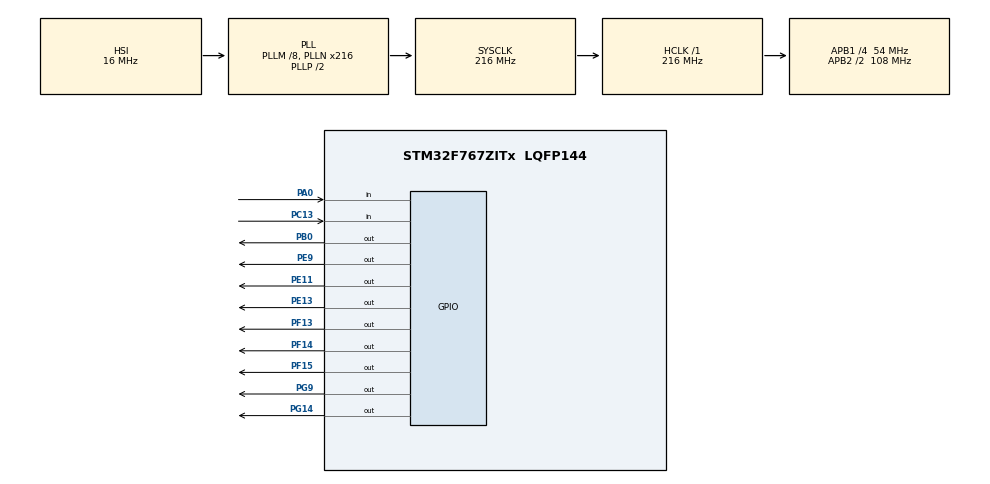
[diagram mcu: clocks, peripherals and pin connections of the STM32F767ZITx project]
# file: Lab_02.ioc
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CORTEX_M7.default_mode_Activation=1
Mcu.Family=STM32F7
Mcu.Name=STM32F767ZITx
Mcu.Package=LQFP144
NVIC.PriorityGroup=NVIC_PRIORITYGROUP_4
PA0/WKUP.Signal=GPIO_Input
PB0.Signal=GPIO_Output
PC13.Signal=GPIO_Input
PE11.Signal=GPIO_Output
PE13.Signal=GPIO_Output
PE9.Signal=GPIO_Output
PF13.Signal=GPIO_Output
PF14.Signal=GPIO_Output
PF15.Signal=GPIO_Output
PG14.Signal=GPIO_Output
PG9.Signal=GPIO_Output
ProjectManager.HeapSize=0x200
ProjectManager.StackSize=0x400
ProjectManager.TargetToolchain=STM32CubeIDE
RCC.AHBFreq_Value=216000000
RCC.APB1CLKDivider=RCC_HCLK_DIV4
RCC.APB1Freq_Value=54000000
RCC.APB1TimFreq_Value=108000000
RCC.APB2CLKDivider=RCC_HCLK_DIV2
RCC.APB2Freq_Value=108000000
RCC.APB2TimFreq_Value=216000000
RCC.CortexFreq_Value=216000000
RCC.HCLKFreq_Value=216000000
RCC.HSE_VALUE=25000000
RCC.HSI_VALUE=16000000
RCC.LSE_VALUE=32768
RCC.PLLM=8
RCC.PLLN=216
RCC.SYSCLKFreq_VALUE=216000000
RCC.SYSCLKSource=RCC_SYSCLKSOURCE_PLLCLK
RCC.USBFreq_Value=216000000
RCC.VCOOutputFreq_Value=432000000
board=custom

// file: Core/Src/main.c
/* USER CODE BEGIN Header */
/**
  ******************************************************************************
  * @file           : main.c
  * @brief          : Main program body
  ******************************************************************************
  * @attention
  *
  * Copyright (c) 2025 STMicroelectronics.
  * All rights reserved.
  *
  * This software is licensed under terms that can be found in the LICENSE file
  * in the root directory of this software component.
  * If no LICENSE file comes with this software, it is provided AS-IS.
  *
  ******************************************************************************
  */
/* USER CODE END Header */
#include "main.h"
#include "gpio.h"

/* USER CODE BEGIN PTD */
typedef struct {
	GPIO_TypeDef* GPIOx;
	uint16_t GPIO_Pin;
} PinConfig_t;
/* USER CODE END PTD */

/* USER CODE BEGIN PV */
uint8_t count = 0;
uint8_t buttonState = 0;
uint8_t inputState = 0;
uint8_t lastButtonState = 0;
uint8_t recent = 0;
PinConfig_t outputPins[8] = {
		{GPIOG, GPIO_PIN_9},
		{GPIOG, GPIO_PIN_14},
		{GPIOF, GPIO_PIN_15},
		{GPIOE, GPIO_PIN_13},
		{GPIOF, GPIO_PIN_14},
		{GPIOE, GPIO_PIN_11},
		{GPIOE, GPIO_PIN_9},
		{GPIOF, GPIO_PIN_13}};
/* USER CODE END PV */

void SystemClock_Config(void);
static void MPU_Config(void);

int main(void)
{

  /* MPU Configuration--------------------------------------------------------*/
  MPU_Config();

  /* MCU Configuration--------------------------------------------------------*/

  /* Reset of all peripherals, Initializes the Flash interface and the Systick. */
  HAL_Init();

  /* Configure the system clock */
  SystemClock_Config();

  /* Initialize all configured peripherals */
  MX_GPIO_Init();

  /* Infinite loop */
  while (1)
  {

    /* USER CODE BEGIN 3 */
//	  if (HAL_GPIO_ReadPin(GPIOC, GPIO_PIN_8) == GPIO_PIN_SET) {
//		  HAL_GPIO_WritePin(GPIOB, GPIO_PIN_0, GPIO_PIN_SET);
//	  }

	  buttonState = HAL_GPIO_ReadPin(GPIOC, GPIO_PIN_13);
	  inputState = HAL_GPIO_ReadPin(GPIOC, GPIO_PIN_8);

	  if (buttonState == GPIO_PIN_SET && lastButtonState == GPIO_PIN_RESET) {
		  if (count < 8) {
			  if (count == 0) {
				  HAL_GPIO_WritePin(outputPins[count].GPIOx, outputPins[count].GPIO_Pin, GPIO_PIN_SET);
			  } else {
				  HAL_GPIO_WritePin(outputPins[count - 1].GPIOx, outputPins[count - 1].GPIO_Pin, GPIO_PIN_RESET);
				  HAL_GPIO_WritePin(outputPins[count].GPIOx, outputPins[count].GPIO_Pin, GPIO_PIN_SET);
			  }
			  count++;
		  } else {
			  HAL_GPIO_WritePin(outputPins[count - 1].GPIOx, outputPins[count - 1].GPIO_Pin, GPIO_PIN_RESET);
			  count = 0;
			  HAL_GPIO_WritePin(outputPins[count].GPIOx, outputPins[count].GPIO_Pin, GPIO_PIN_SET);
			  count++;
		  }
	  }
	  if (inputState == GPIO_PIN_RESET) {
		  if (count == 0) {
			  // not push the button
			  for (int8_t i = 7; i >= 0; i--) {
				  HAL_GPIO_WritePin(outputPins[i].GPIOx, outputPins[i].GPIO_Pin, GPIO_PIN_SET);
				  HAL_Delay(300);
				  HAL_GPIO_WritePin(outputPins[i].GPIOx, outputPins[i].GPIO_Pin, GPIO_PIN_RESET);
				  HAL_Delay(300);
			  }
		  } else {
			  // push button
			  recent = count - 1;

			  for (uint8_t i = 0; i < 8; i++) {
				  if (recent > 0) {
					  HAL_GPIO_WritePin(outputPins[recent].GPIOx, outputPins[recent].GPIO_Pin, GPIO_PIN_RESET);
					  HAL_Delay(300);
					  HAL_GPIO_WritePin(outputPins[recent - 1].GPIOx, outputPins[recent - 1].GPIO_Pin, GPIO_PIN_SET);
					  HAL_Delay(300);
					  recent--;
				  } else if (recent == 0) {
					  HAL_GPIO_WritePin(outputPins[0].GPIOx, outputPins[0].GPIO_Pin, GPIO_PIN_RESET);
					  HAL_Delay(300);
					  HAL_GPIO_WritePin(outputPins[7].GPIOx, outputPins[7].GPIO_Pin, GPIO_PIN_SET);
					  HAL_Delay(300);
					  recent = 7;
				  }
			  }
			  count = recent + 1;
		  }
	  }
	  lastButtonState = buttonState;
	  HAL_Delay(50); // debounce delay
  }
  /* USER CODE END 3 */
}

void SystemClock_Config(void)
{
  RCC_OscInitTypeDef RCC_OscInitStruct = {0};
  RCC_ClkInitTypeDef RCC_ClkInitStruct = {0};

  /** Configure the main internal regulator output voltage
  */
  __HAL_RCC_PWR_CLK_ENABLE();
  __HAL_PWR_VOLTAGESCALING_CONFIG(PWR_REGULATOR_VOLTAGE_SCALE1);

  /** Initializes the RCC Oscillators according to the specified parameters
  * in the RCC_OscInitTypeDef structure.
  */
  RCC_OscInitStruct.OscillatorType = RCC_OSCILLATORTYPE_HSI;
  RCC_OscInitStruct.HSIState = RCC_HSI_ON;
  RCC_OscInitStruct.HSICalibrationValue = RCC_HSICALIBRATION_DEFAULT;
  RCC_OscInitStruct.PLL.PLLState = RCC_PLL_ON;
  RCC_OscInitStruct.PLL.PLLSource = RCC_PLLSOURCE_HSI;
  RCC_OscInitStruct.PLL.PLLM = 8;
  RCC_OscInitStruct.PLL.PLLN = 216;
  RCC_OscInitStruct.PLL.PLLP = RCC_PLLP_DIV2;
  RCC_OscInitStruct.PLL.PLLQ = 2;
  RCC_OscInitStruct.PLL.PLLR = 2;
  if (HAL_RCC_OscConfig(&RCC_OscInitStruct) != HAL_OK)
  {
    Error_Handler();
  }

  /** Activate the Over-Drive mode
  */
  if (HAL_PWREx_EnableOverDrive() != HAL_OK)
  {
    Error_Handler();
  }

  /** Initializes the CPU, AHB and APB buses clocks
  */
  RCC_ClkInitStruct.ClockType = RCC_CLOCKTYPE_HCLK|RCC_CLOCKTYPE_SYSCLK
                              |RCC_CLOCKTYPE_PCLK1|RCC_CLOCKTYPE_PCLK2;
  RCC_ClkInitStruct.SYSCLKSource = RCC_SYSCLKSOURCE_PLLCLK;
  RCC_ClkInitStruct.AHBCLKDivider = RCC_SYSCLK_DIV1;
  RCC_ClkInitStruct.APB1CLKDivider = RCC_HCLK_DIV4;
  RCC_ClkInitStruct.APB2CLKDivider = RCC_HCLK_DIV2;

  if (HAL_RCC_ClockConfig(&RCC_ClkInitStruct, FLASH_LATENCY_7) != HAL_OK)
  {
    Error_Handler();
  }
}

 /* MPU Configuration */

void MPU_Config(void)
{
  MPU_Region_InitTypeDef MPU_InitStruct = {0};

  /* Disables the MPU */
  HAL_MPU_Disable();

  /** Initializes and configures the Region and the memory to be protected
  */
  MPU_InitStruct.Enable = MPU_REGION_ENABLE;
  MPU_InitStruct.Number = MPU_REGION_NUMBER0;
  MPU_InitStruct.BaseAddress = 0x0;
  MPU_InitStruct.Size = MPU_REGION_SIZE_4GB;
  MPU_InitStruct.SubRegionDisable = 0x87;
  MPU_InitStruct.TypeExtField = MPU_TEX_LEVEL0;
  MPU_InitStruct.AccessPermission = MPU_REGION_NO_ACCESS;
  MPU_InitStruct.DisableExec = MPU_INSTRUCTION_ACCESS_DISABLE;
  MPU_InitStruct.IsShareable = MPU_ACCESS_SHAREABLE;
  MPU_InitStruct.IsCacheable = MPU_ACCESS_NOT_CACHEABLE;
  MPU_InitStruct.IsBufferable = MPU_ACCESS_NOT_BUFFERABLE;

  HAL_MPU_ConfigRegion(&MPU_InitStruct);
  /* Enables the MPU */
  HAL_MPU_Enable(MPU_PRIVILEGED_DEFAULT);

}

void Error_Handler(void)
{
  __disable_irq();
  while (1)
  {
  }
}
